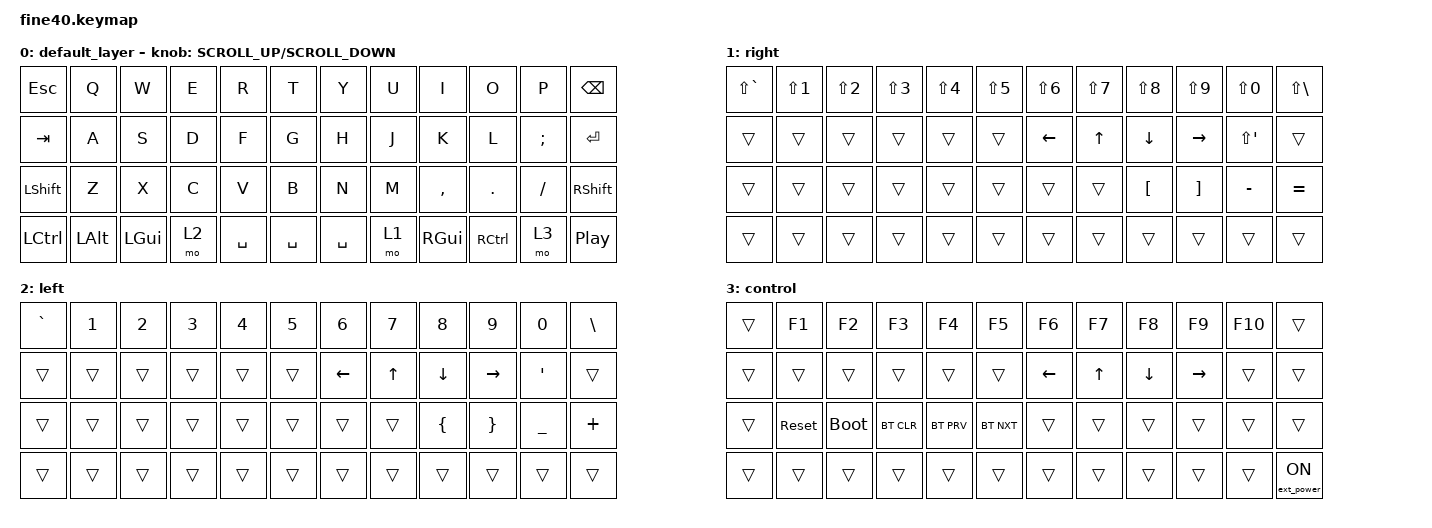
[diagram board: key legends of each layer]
/*
 * Aidan Smith (2021)
 *
 * SPDX-License-Identifier: MIT
 */

#include <behaviors.dtsi>
#include <dt-bindings/zmk/keys.h>
#include <dt-bindings/zmk/bt.h>
#include <dt-bindings/zmk/ext_power.h>

/ {
	keymap {
		compatible = "zmk,keymap";

		default_layer {
			bindings = <
				&kp ESC     &kp Q      &kp W      &kp E      &kp R       &kp T       &kp Y       &kp U      &kp I      &kp O     &kp P     &kp BSPC
				&kp TAB     &kp A      &kp S      &kp D      &kp F       &kp G       &kp H       &kp J      &kp K      &kp L     &kp SEMI  &kp RET
				&kp LSHFT   &kp Z      &kp X      &kp C      &kp V       &kp B       &kp N       &kp M      &kp COMMA  &kp DOT   &kp FSLH  &kp RSHFT
				&kp LCTL    &kp LALT   &kp LGUI   &mo 2      &kp SPACE   &kp SPACE   &kp SPACE   &mo 1      &kp RGUI   &kp RCTL  &mo 3     &kp C_PP
			>;

			sensor-bindings = <&inc_dec_kp K_SCROLL_UP K_SCROLL_DOWN>;
		};

		right {
			bindings = <
				&kp LS(GRAVE) &kp LS(N1) &kp LS(N2) &kp LS(N3) &kp LS(N4) &kp LS(N5) &kp LS(N6) &kp LS(N7) &kp LS(N8)    &kp LS(N9)   &kp LS(N0)   &kp LS(BSLH)
				&trans        &trans 	 &trans     &trans     &trans     &trans     &kp LEFT   &kp UP     &kp DOWN      &kp RIGHT    &kp LS(SQT)  &trans
				&trans        &trans     &trans     &trans     &trans     &trans     &trans     &trans     &kp LBKT      &kp RBKT     &kp MINUS    &kp EQUAL
				&trans        &trans     &trans     &trans     &trans     &trans     &trans     &trans     &trans        &trans       &trans       &trans
			>;
		};

		left {
			bindings = <
				&kp GRAVE   &kp N1   &kp N2   &kp N3   &kp N4   &kp N5   &kp N6   &kp N7    &kp N8    &kp N9     &kp N0     &kp BSLH
				&trans      &trans   &trans   &trans   &trans   &trans   &kp LEFT &kp UP    &kp DOWN  &kp RIGHT  &kp SQT    &trans
				&trans      &trans   &trans   &trans   &trans   &trans   &trans   &trans    &kp LBRC  &kp RBRC   &kp UNDER  &kp PLUS
				&trans      &trans   &trans   &trans   &trans   &trans   &trans   &trans    &trans    &trans     &trans     &trans
			>;
		};

		control {
			bindings = <
				&trans     &kp F1      &kp F2       &kp F3       &kp F4      &kp F5      &kp F6       &kp F7     &kp F8     &kp F9     &kp F10   &trans
				&trans     &trans      &trans       &trans       &trans      &trans      &kp LEFT     &kp UP     &kp DOWN   &kp RIGHT  &trans    &trans
				&trans     &sys_reset  &bootloader  &bt BT_CLR   &bt BT_PRV  &bt BT_NXT  &trans       &trans     &trans     &trans     &trans    &trans
				&trans     &trans      &trans       &trans       &trans      &trans      &trans       &trans     &trans     &trans     &trans    &ext_power EP_ON
			>;
		};
	};
};
